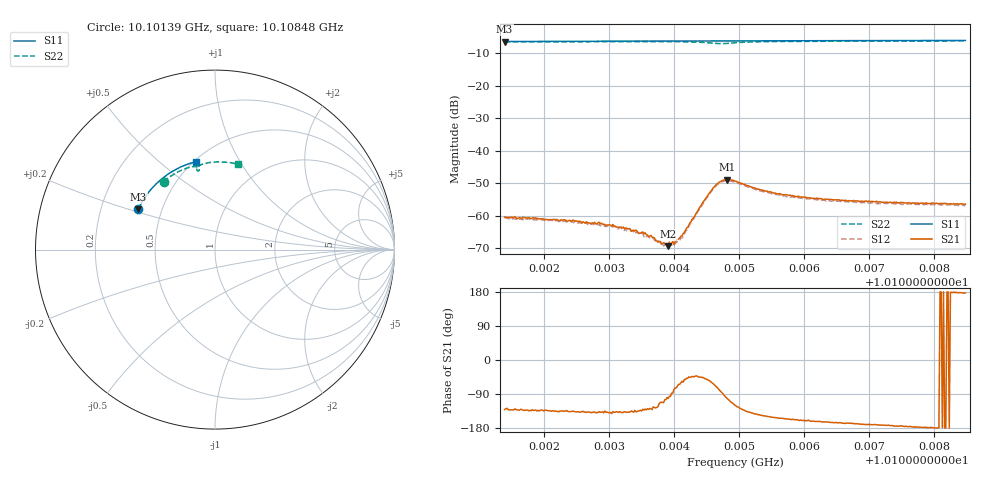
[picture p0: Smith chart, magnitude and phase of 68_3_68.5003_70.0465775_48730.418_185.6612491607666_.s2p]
#  HZ  S  RI  R  50.00
! Rohde & Schwarz Vector Network Analyzer
! Rohde-Schwarz,ZNB20-2Port,1311601062101988,3.16
! Created: UTC 3/20/2024, 5:06:47 PM
! freq[Hz]  re:S11  im:S11  re:S21  im:S21  re:S12  im:S12  re:S22  im:S22
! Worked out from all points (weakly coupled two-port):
!   401 points, 10.10139 GHz to 10.10848 GHz, reference 50 ohm
!   highest |S21| = -48.82 dB at 10.10481 GHz (marker M1); lowest = -69.3 dB at 10.10391 GHz (marker M2)
!   lowest |S11| = -6.3 dB at 10.10139 GHz (marker M3), VSWR 2.87, Z = 18.4 + j10.8 ohm
!   |S11| at or under -10 dB: nowhere
!   |S22| runs from -7.0 to -6.1 dB; largest |S21 - S12| = 0.00036
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1.0101394e10  -0.4272 0.2251  -0.000624 -0.000731  -0.000543 -0.000738  -0.2868 0.3791
1.0101872e10  -0.4143 0.2511  -0.000627 -0.000693  -0.000542 -0.000677  -0.2624 0.3981
1.010258e10  -0.3921 0.2882  -0.00056 -0.000537  -0.000535 -0.000563  -0.2236 0.4233
1.0102864e10  -0.3825 0.3024  -0.000563 -0.00051  -0.000483 -0.00051  -0.2072 0.4324
1.0103289e10  -0.3668 0.3232  -0.000467 -0.000418  -0.000406 -0.00044  -0.1815 0.4447
1.0103537e10  -0.3573 0.3347  -0.000355 -0.000394  -0.000296 -0.000374  -0.1657 0.451
1.0103661e10  -0.3524 0.3404  -0.000309 -0.000358  -0.000248 -0.000401  -0.1574 0.4541
1.0103767e10  -0.3481 0.3452  -0.000182 -0.000368  -0.000183 -0.000358  -0.1502 0.4564
1.0103838e10  -0.3452 0.3483  -0.000148 -0.000359  -0.000103 -0.000327  -0.1452 0.4579
1.0103908e10  -0.3423 0.3514  -6.96e-05 -0.000335  -2.78e-06 -0.000344  -0.14 0.4591
1.0103997e10  -0.3385 0.3553  7.8e-05 -0.000354  9.36e-05 -0.000335  -0.1335 0.4606
1.0104103e10  -0.3342 0.36  0.00024 -0.00042  0.000259 -0.000377  -0.1252 0.462
1.0104369e10  -0.3225 0.3712  0.000864 -0.000848  0.000929 -0.000759  -0.1025 0.4605
1.0104581e10  -0.313 0.3798  0.00126 -0.0022  0.0014 -0.002  -0.0879 0.4479
1.0104688e10  -0.3082 0.3842  0.0007 -0.0032  0.000932 -0.00298  -0.0898 0.4396
1.0104811e10  -0.3027 0.3889  -0.000668 -0.00356  -0.000354 -0.00347  -0.0985 0.44
1.0104935e10  -0.297 0.3939  -0.00169 -0.00297  -0.00135 -0.003  -0.1009 0.45
1.010529e10  -0.2802 0.4071  -0.00209 -0.00152  -0.00188 -0.00163  -0.0802 0.4717
1.0105537e10  -0.2679 0.416  -0.00198 -0.00105  -0.0018 -0.0012  -0.0625 0.4785
1.0106122e10  -0.2383 0.4353  -0.00178 -0.000594  -0.00166 -0.000733  -0.022 0.4861
1.0107308e10  -0.1742 0.4675  -0.00159 -0.000207  -0.00151 -0.000326  0.0559 0.4873
1.0108477e10  -0.1071 0.4896  -0.00152 7.49e-05  -0.00145 -7.79e-05  0.1299 0.4757
